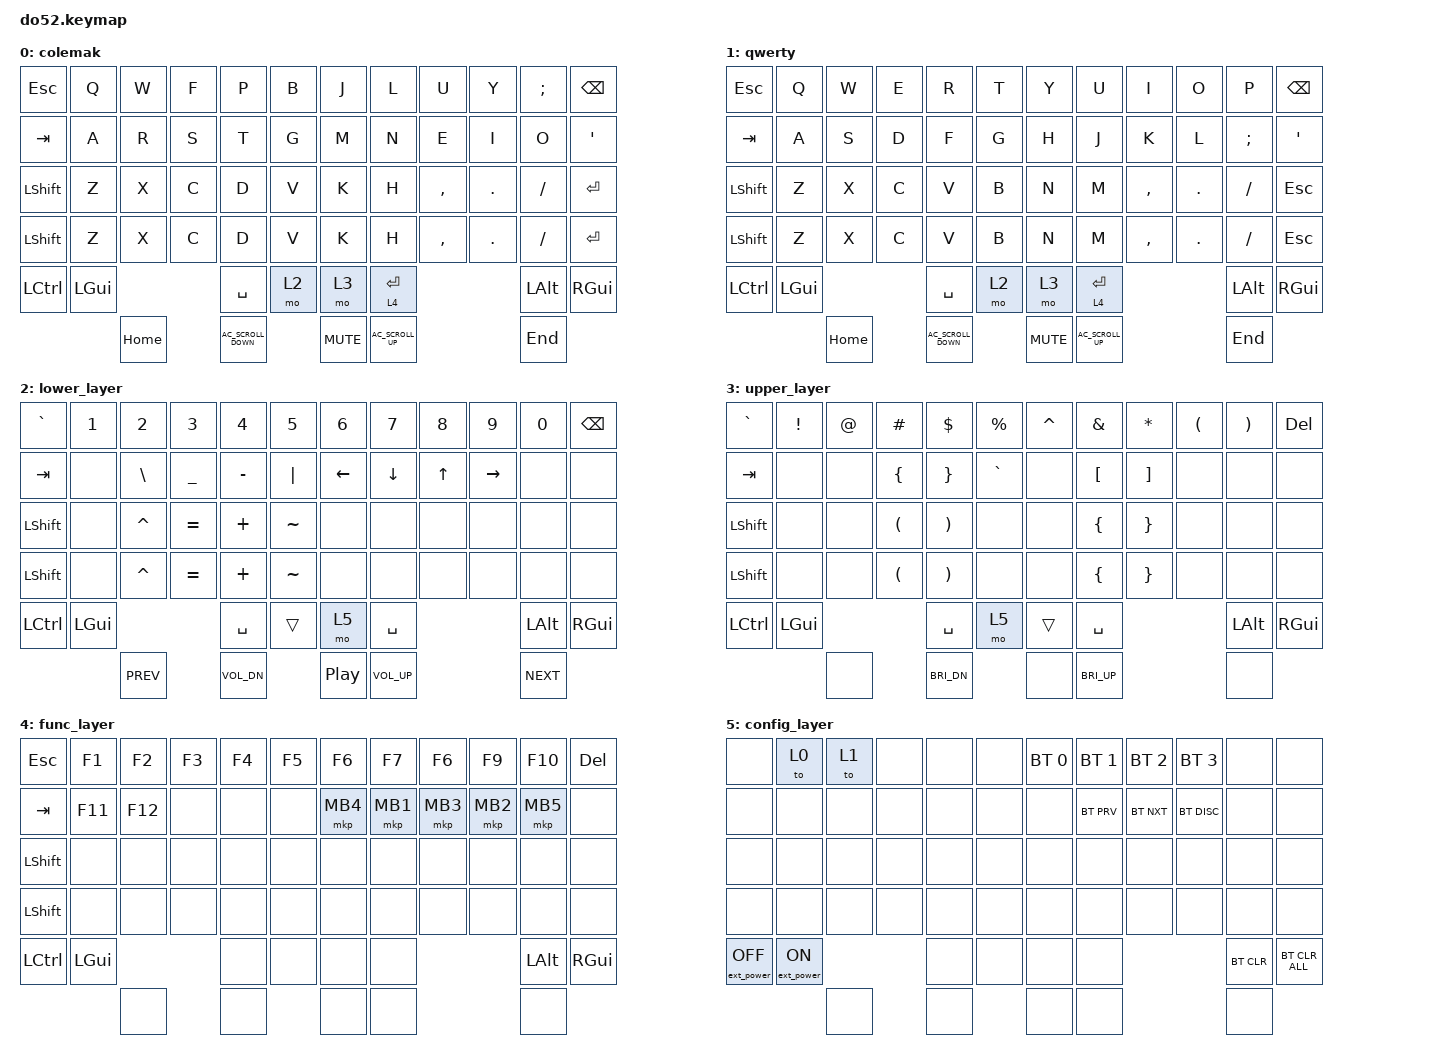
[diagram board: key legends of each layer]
#include <behaviors.dtsi>
#include <dt-bindings/zmk/keys.h>
#include <dt-bindings/zmk/mouse.h>
#include <dt-bindings/zmk/bt.h>
#include <dt-bindings/zmk/ext_power.h>

&lt {
    tapping-term-ms = <120>;
};

/ {
        keymap {
                compatible = "zmk,keymap";
                colemak {
                        bindings = <
   &kp ESC   &kp Q    &kp W &kp F  &kp P     &kp B       &kp J    &kp L &kp U     &kp Y   &kp SEMI &kp BSPC
   &kp TAB   &kp A    &kp R &kp S  &kp T     &kp G       &kp M    &kp N &kp E     &kp I   &kp O    &kp SQT
   &kp LSHFT &kp Z    &kp X &kp C  &kp D     &kp V       &kp K    &kp H &kp COMMA &kp DOT &kp FSLH &kp RET
   &kp LSHFT &kp Z    &kp X &kp C  &kp D     &kp V       &kp K    &kp H &kp COMMA &kp DOT &kp FSLH &kp RET
   &kp LCTRL &kp LGUI              &kp SPACE &mo 2       &mo 3    &lt 4 RET               &kp LALT &kp RGUI
                                    // DPAD Left, Down, Middle, Up, Right
                        &kp HOME  &kp C_AC_SCROLL_DOWN  &kp K_MUTE   &kp C_AC_SCROLL_UP &kp END
                        >;
                };
                qwerty {
                        bindings = <
   &kp ESC   &kp Q    &kp W &kp E  &kp R     &kp T       &kp Y    &kp U &kp I     &kp O   &kp P    &kp BSPC
   &kp TAB   &kp A    &kp S &kp D  &kp F     &kp G       &kp H    &kp J &kp K     &kp L   &kp SEMI &kp SQT
   &kp LSHFT &kp Z    &kp X &kp C  &kp V     &kp B       &kp N    &kp M &kp COMMA &kp DOT &kp FSLH &kp ESC
   &kp LSHFT &kp Z    &kp X &kp C  &kp V     &kp B       &kp N    &kp M &kp COMMA &kp DOT &kp FSLH &kp ESC
   &kp LCTRL &kp LGUI              &kp SPACE &mo 2       &mo 3    &lt 4 RET               &kp LALT &kp RGUI
                                    // DPAD Left, Down, Middle, Up, Right
                        &kp HOME  &kp C_AC_SCROLL_DOWN  &kp K_MUTE   &kp C_AC_SCROLL_UP &kp END
                        >;
                };
                lower_layer {
                        bindings = <
   &kp GRAVE &kp N1   &kp N2    &kp N3    &kp N4    &kp N5        &kp N6   &kp N7    &kp N8  &kp N9    &kp N0   &kp BSPC
   &kp TAB   &none    &kp BSLH  &kp UNDER &kp MINUS &kp PIPE      &kp LEFT &kp DOWN  &kp UP  &kp RIGHT &none    &none
   &kp LSHFT &none    &kp CARET &kp EQUAL &kp PLUS  &kp TILDE     &none    &none     &none   &none     &none    &none
   &kp LSHFT &none    &kp CARET &kp EQUAL &kp PLUS  &kp TILDE     &none    &none     &none   &none     &none    &none
   &kp LCTRL &kp LGUI                     &kp SPACE &trans        &mo 5    &kp SPACE                   &kp LALT &kp RGUI
                                    // DPAD Left, Down, Middle, Up, Right
                        &kp C_PREV &kp C_VOL_DN  &kp C_PP &kp C_VOL_UP &kp C_NEXT
                        >;
                };
                upper_layer {
                        bindings = <
   &kp GRAVE &kp EXCL &kp AT &kp HASH &kp DLLR  &kp PRCNT        &kp CARET &kp AMPS  &kp ASTRK &kp LPAR &kp RPAR &kp DEL
   &kp TAB   &none    &none  &kp LBRC &kp RBRC  &kp GRAVE        &none     &kp LBKT  &kp RBKT  &none    &none    &none
   &kp LSHFT &none    &none  &kp LPAR &kp RPAR  &none            &none     &kp LBRC  &kp RBRC  &none    &none    &none
   &kp LSHFT &none    &none  &kp LPAR &kp RPAR  &none            &none     &kp LBRC  &kp RBRC  &none    &none    &none
   &kp LCTRL &kp LGUI                 &kp SPACE &mo 5            &trans    &kp SPACE                    &kp LALT &kp RGUI
                                    // DPAD Left, Down, Middle, Up, Right
                                    &none &kp C_BRI_DN  &none &kp C_BRI_UP &none
                        >;
                };
                func_layer {
                        bindings = <
   &kp ESC   &kp F1   &kp F2  &kp F3 &kp F4 &kp F5      &kp F6   &kp F7   &kp F6   &kp F9   &kp F10  &kp DEL
   &kp TAB   &kp F11  &kp F12 &none  &none  &none       &mkp MB4 &mkp MB1 &mkp MB3 &mkp MB2 &mkp MB5 &none
   &kp LSHFT &none    &none   &none  &none  &none       &none    &none    &none    &none    &none    &none
   &kp LSHFT &none    &none   &none  &none  &none       &none    &none    &none    &none    &none    &none
   &kp LCTRL &kp LGUI                &none  &none       &none    &none                      &kp LALT &kp RGUI
                                    // DPAD Left, Down, Middle, Up, Right
                                      &none &none &none &none &none
                        >;
                };
                config_layer {
                        bindings = <
   &none        &to 0       &to 1 &none &none &none           &bt BT_SEL 0 &bt BT_SEL 1 &bt BT_SEL 2 &bt BT_SEL 3 &none &none
   &none        &none       &none &none &none &none           &none        &bt BT_PRV   &bt BT_NXT   &bt BT_DISC  &none &none
   &none        &none       &none &none &none &none           &none        &none        &none        &none        &none &none
   &none        &none       &none &none &none &none           &none        &none        &none        &none        &none &none
   &ext_power EP_OFF &ext_power EP_ON   &none &none           &none        &none                  &bt BT_CLR   &bt BT_CLR_ALL
                                    // DPAD Left, Down, Middle, Up, Right
                                      &none &none &none &none &none
                        >;
                };
        };
};
